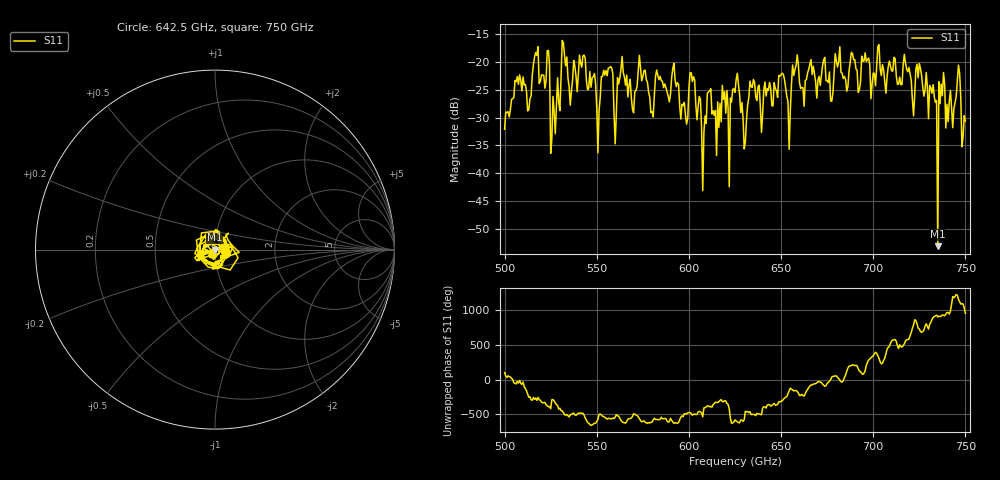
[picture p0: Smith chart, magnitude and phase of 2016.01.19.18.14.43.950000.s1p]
!Created with skrf (http://scikit-rf.org).
# GHz S RI R 50.0
!freq ReS11 ImS11
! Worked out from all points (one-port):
!   401 points, 500 GHz to 750 GHz, reference 50 ohm
!   lowest |S11| = -53.0 dB at 735 GHz (marker M1), VSWR 1.00, Z = 49.8 + j0.00568 ohm
!   |S11| at or under -10 dB: start of sweep to end of sweep
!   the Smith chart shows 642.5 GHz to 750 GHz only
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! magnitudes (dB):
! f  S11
! 500 GHz  -32.1
! 506.9 GHz  -22.7
! 513.1 GHz  -28.6
! 516.9 GHz  -18.4
! 523.1 GHz  -18.1
! 526.2 GHz  -26.2
! 531.2 GHz  -16.2
! 542.5 GHz  -19.0
! 550.6 GHz  -36.3
! 562.5 GHz  -23.0
! 593.8 GHz  -23.8
! 598.1 GHz  -29.6
! 601.9 GHz  -23.6
! 608.1 GHz  -32.7
! 610.6 GHz  -25.4
! 621.2 GHz  -28.3
! 625 GHz  -25.5
! 630.6 GHz  -34.4
! 634.4 GHz  -24.6
! 650 GHz  -22.4
! 653.8 GHz  -27.1
! 656.2 GHz  -20.6
! 687.5 GHz  -20.1
! 718.8 GHz  -21.8
! 735 GHz  -53.0
! 736.9 GHz  -24.0
! 746.2 GHz  -20.6
! 750 GHz  -30.6
